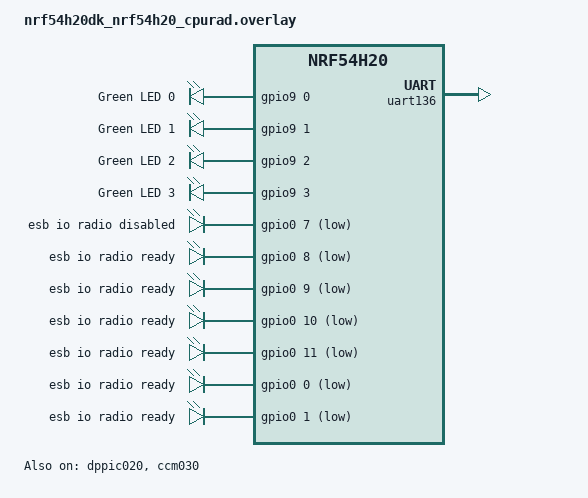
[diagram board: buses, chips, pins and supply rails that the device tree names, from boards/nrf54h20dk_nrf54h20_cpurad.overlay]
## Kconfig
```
#
# Copyright (c) 2020 Nordic Semiconductor
#
# SPDX-License-Identifier: LicenseRef-Nordic-5-Clause
#

source "Kconfig.zephyr"

menu "Enhanced ShockBurst: Receiver"

config ESB_PRX_APP_LOG_LEVEL
	int "Log level for the ESB PRX sample"
	default 4

config ESB_PRX_TX_LENGTH
	int "ACK payload length"
	range 0 ESB_MAX_PAYLOAD_LENGTH
	default 0

config APP_DATA_LENGTH
	int "Exact payload length"
	range 1 ESB_MAX_PAYLOAD_LENGTH
	default 4

endmenu
```

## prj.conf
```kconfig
#
# Copyright (c) 2019 Nordic Semiconductor ASA
#
# SPDX-License-Identifier: LicenseRef-Nordic-5-Clause
#
CONFIG_NCS_SAMPLES_DEFAULTS=y
CONFIG_ESB=y
CONFIG_DK_LIBRARY=y
CONFIG_CLOCK_CONTROL=y

CONFIG_ESB_FAST_SWITCHING=y
CONFIG_ESB_FAST_CHANNEL_SWITCHING=y
CONFIG_ESB_PRX_TX_LENGTH=15

# Security
CONFIG_NRF_SECURITY=y
CONFIG_MBEDTLS_PSA_CRYPTO_C=y

CONFIG_MBEDTLS_ENABLE_HEAP=y
CONFIG_MBEDTLS_HEAP_SIZE=8192
CONFIG_MAIN_STACK_SIZE=4096

# CONFIG_CLOAK=y
CONFIG_JETSTREAM=y
CONFIG_RESET_ON_FATAL_ERROR=n
CONFIG_DEBUG_OPTIMIZATIONS=y
CONFIG_SPIN_VALIDATE=n
# CPU usage
# CONFIG_LOG_BACKEND_UART=y
# #CONFIG_LOG_BACKEND_RTT=y
# CONFIG_THREAD_ANALYZER=y
# #CONFIG_THREAD_ANALYZER_USE_PRINTK=y
# CONFIG_THREAD_ANALYZER_AUTO=y
# CONFIG_THREAD_ANALYZER_AUTO_INTERVAL=5
# CONFIG_THREAD_NAME=y
# #CONFIG_LOG_BUFFER_SIZE=12048
# CONFIG_SPEED_OPTIMIZATIONS=y
```

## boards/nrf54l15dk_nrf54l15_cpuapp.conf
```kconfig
# CONFIG_SOC_NRF_FORCE_CONSTLAT=y。
CONFIG_NRFX_DPPI10=y
```

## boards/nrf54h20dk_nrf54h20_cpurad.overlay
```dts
/*
 * Copyright (c) 2024 Nordic Semiconductor ASA
 *
 * SPDX-License-Identifier: LicenseRef-Nordic-5-Clause
 */

 / {
	leds {
		compatible = "gpio-leds";

		led0: led_0 {
			gpios = < &gpio9 0 GPIO_ACTIVE_HIGH >;
			label = "Green LED 0";
		};

		led1: led_1 {
			gpios = < &gpio9 1 GPIO_ACTIVE_HIGH >;
			label = "Green LED 1";
		};

		led2: led_2 {
			gpios = < &gpio9 2 GPIO_ACTIVE_HIGH >;
			label = "Green LED 2";
		};

		led3: led_3 {
			gpios = < &gpio9 3 GPIO_ACTIVE_HIGH >;
			label = "Green LED 3";
		};
	};

	aliases {
		led0 = &led0;
		led1 = &led1;
		led2 = &led2;
		led3 = &led3;
	};

	chosen {
		zephyr,console = &uart136;
	};

	jetstr_gpio {
		compatible = "gpio-leds";
		jet_dbg_sig_poll_exp: jet_dbg_sig_poll_exp {
			gpios = <&gpio0 7 GPIO_ACTIVE_LOW>;
			label = "esb io radio disabled";
		};
		jet_dbg_sig_send_pkt: jet_dbg_sig_send_pkt {
			gpios = <&gpio0 8 GPIO_ACTIVE_LOW>;
			label = "esb io radio ready";
		};
		jet_dbg_sig_tx_success: jet_dbg_sig_tx_success {
			gpios = <&gpio0 9 GPIO_ACTIVE_LOW>;
			label = "esb io radio ready";
		};
		jet_dbg_sig_retx: jet_dbg_sig_retx {
			gpios = <&gpio0 10 GPIO_ACTIVE_LOW>;
			label = "esb io radio ready";
		};
		jet_dbg_sig_tx_fail: jet_dbg_sig_tx_fail {
			gpios = <&gpio0 11 GPIO_ACTIVE_LOW>;
			label = "esb io radio ready";
		};
		jet_dbg_sig_rf_recv: jet_dbg_sig_rf_recv {
			gpios = <&gpio0 0 GPIO_ACTIVE_LOW>;
			label = "esb io radio ready";
		};
		jet_dbg_sig_tim_irq: jet_dbg_sig_tim_irq {
			gpios = <&gpio0 1 GPIO_ACTIVE_LOW>;
			label = "esb io radio ready";
		};

	};

};

&gpio9 {
	status = "okay";
};

&gpio0 {
	status = "okay";
};

&gpiote130 {
	owned-channels = <0 1 2 3 4 5 6 7>;
	status = "okay";
};

&uart136 {
	status = "okay";
	memory-regions = <&cpurad_dma_region>;
};

&uart135 {
	status = "disabled";
};

&dppic020 {
	status = "okay";
	source-channels = < 0 1 2 3 4 5 >;
	sink-channels = < 6 7 8 9 10 11 >;
};

&ccm030 {
	status = "okay";
};
```

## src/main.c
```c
/*
 * Copyright (c) 2018 Nordic Semiconductor ASA
 *
 * SPDX-License-Identifier: LicenseRef-Nordic-5-Clause
 */
#include <zephyr/device.h>
#include <zephyr/devicetree.h>
#include <zephyr/drivers/clock_control.h>
#include <zephyr/drivers/clock_control/nrf_clock_control.h>
#if defined(NRF54L15_XXAA)
#include <hal/nrf_clock.h>
#endif /* defined(NRF54L15_XXAA) */

#include <zephyr/drivers/timer/nrf_grtc_timer.h>
#include <zephyr/drivers/gpio.h>
#include <zephyr/irq.h>
#include <zephyr/logging/log.h>
#include <nrf.h>
#include <esb.h>
#include <zephyr/kernel.h>
#include <zephyr/types.h>
#include <zephyr/sys/byteorder.h>
#include <dk_buttons_and_leds.h>
#if defined(CONFIG_CLOCK_CONTROL_NRF2)
#include <hal/nrf_lrcconf.h>
#endif
#if defined(CONFIG_CLOAK)
#include <cloak.h>
#endif
#include <jetstr.h>

LOG_MODULE_REGISTER(esb_prx, CONFIG_ESB_PRX_APP_LOG_LEVEL);

/* Print cycle time, in microseconds */
#define PRINT_CYCLE     1000000

struct main_msg {
	uint32_t type;
	uint32_t cnt;
	uint32_t cnt_err;
};

#define MAIN_MSG_RX     0
#define MAIN_MSG_TX     1
#define MAIN_MSG_TIMER  2

struct print_msg {
	uint32_t rx_cnt;
	uint32_t tx_cnt;
	uint32_t rx_error_cnt;
};

static struct esb_payload rx_payload;
static struct esb_payload tx_payload = ESB_CREATE_PAYLOAD(0,
	0x10, 0x11, 0x12, 0x13, 0x14, 0x15, 0x16, 0x17);
static struct esb_payload tx_payload1 = ESB_CREATE_PAYLOAD(0, 0x1, 0x2);

static uint8_t nonce[13] = {0};
uint8_t data[CONFIG_APP_DATA_LENGTH];
static uint8_t s_channel_tab[] = JETSTR_CHANNEL_TAB;

#if CONFIG_ESB_PRX_TX_LENGTH > 0

static void fill_tx_payload_data(struct esb_payload *payload)
{
	static uint8_t tx_data_next;
	uint8_t i;

	for (i = 0; i < CONFIG_ESB_PRX_TX_LENGTH; i++) {
		payload->data[i] = tx_data_next + i;
	}

	tx_data_next += CONFIG_ESB_PRX_TX_LENGTH;
}

static void fill_tx_fifo(void)
{
	int err;

	while (1) {

		err = esb_write_payload(&tx_payload);
		if (err) {
			break;
		}
	}
}
#endif

K_MSGQ_DEFINE(main_msgq,
	      sizeof(struct main_msg),
	      24,
	      sizeof(uint32_t));

K_MSGQ_DEFINE(print_msgq,
	      sizeof(struct print_msg),
	      1,
	      sizeof(uint32_t));

static struct k_thread print_thread;

static K_THREAD_STACK_DEFINE(print_stack, 512);

static int32_t timer_chan;
static uint64_t timer_tick;

static int timer_target_set(void);
static bool hop = false;
static void leds_update(uint8_t value)
{
	uint32_t leds_mask =
		(!(value % 8 > 0 && value % 8 <= 4) ? DK_LED1_MSK : 0) |
		(!(value % 8 > 1 && value % 8 <= 5) ? DK_LED2_MSK : 0) |
		(!(value % 8 > 2 && value % 8 <= 6) ? DK_LED3_MSK : 0) |
		(!(value % 8 > 3) ? DK_LED4_MSK : 0);

	dk_set_leds(leds_mask);
}

void event_handler(void *p_event_data, uint16_t event_size)
{
	struct main_msg msg;
	int err;
	jetstr_evt_t *evt;

	// ASSERT(event_size == sizeof(jetstr_evt_t));
	evt = (jetstr_evt_t *)p_event_data;

	switch (evt->type) {
	case jetstr_evt_none:

		break;

	case jetstr_evt_tx_failed:
		break;
	case jetstr_evt_tx_success:

		msg.type = MAIN_MSG_TX;
		msg.cnt = 1;
		err = k_msgq_put(&main_msgq, &msg, K_NO_WAIT);
		if (err) {
			LOG_ERR("Cannot put TX count to message queue");
		}

		break;

	case jetstr_evt_rx_received:
		msg.type = MAIN_MSG_RX;
		msg.cnt = 0;
		if (evt->rcv_length > 0) {
			msg.cnt++;
		}

		memcpy(rx_payload.data, evt->rcv_data, evt->rcv_length);
		rx_payload.length = evt->rcv_length;
		err = k_msgq_put(&main_msgq, &msg, K_NO_WAIT);
		if (err) {
			LOG_ERR("Cannot put RX count to message queue");
		}

		// esb_write_payload(&tx_payload1);

		break;
	}
}

#if defined(CONFIG_CLOCK_CONTROL_NRF)
int clocks_start(void)
{
	int err;
	int res;
	struct onoff_manager *clk_mgr;
	struct onoff_client clk_cli;

	clk_mgr = z_nrf_clock_control_get_onoff(CLOCK_CONTROL_NRF_SUBSYS_HF);
	if (!clk_mgr) {
		LOG_ERR("Unable to get the Clock manager");
		return -ENXIO;
	}

	sys_notify_init_spinwait(&clk_cli.notify);

	err = onoff_request(clk_mgr, &clk_cli);
	if (err < 0) {
		LOG_ERR("Clock request failed: %d", err);
		return err;
	}

	do {
		err = sys_notify_fetch_result(&clk_cli.notify, &res);
		if (!err && res) {
			LOG_ERR("Clock could not be started: %d", res);
			return res;
		}
	} while (err);

#if defined(NRF54L15_XXAA)
	/* MLTPAN-20 */
	nrf_clock_task_trigger(NRF_CLOCK, NRF_CLOCK_TASK_PLLSTART);
#endif /* defined(NRF54L15_XXAA) */

	LOG_DBG("HF clock started");
	return 0;
}

#elif defined(CONFIG_CLOCK_CONTROL_NRF2)

int clocks_start(void)
{
	int err;
	int res;
	const struct device *radio_clk_dev =
		DEVICE_DT_GET_OR_NULL(DT_CLOCKS_CTLR(DT_NODELABEL(radio)));
	struct onoff_client radio_cli;

	/** Keep radio domain powered all the time to reduce latency. */
	nrf_lrcconf_poweron_force_set(NRF_LRCCONF010, NRF_LRCCONF_POWER_DOMAIN_1, true);

	sys_notify_init_spinwait(&radio_cli.notify);

	err = nrf_clock_control_request(radio_clk_dev, NULL, &radio_cli);

	do {
		err = sys_notify_fetch_result(&radio_cli.notify, &res);
		if (!err && res) {
			LOG_ERR("Clock could not be started: %d", res);
			return res;
		}
	} while (err == -EAGAIN);

	nrf_lrcconf_clock_always_run_force_set(NRF_LRCCONF000, 0, true);
	nrf_lrcconf_task_trigger(NRF_LRCCONF000, NRF_LRCCONF_TASK_CLKSTART_0);

	LOG_DBG("HF clock started");
	return 0;
}

#else
BUILD_ASSERT(false, "No Clock Control driver");
#endif /* defined(CONFIG_CLOCK_CONTROL_NRF2) */

int esb_initialize(void)
{
	int err;
	/* These are arbitrary default addresses. In end user products
	 * different addresses should be used for each set of devices.
	 */
	jetstr_cfg_t jetstr_config;
	jetstr_cfg_params_t jetstr_cfg_params;
	struct esb_config config = ESB_DEFAULT_CONFIG;

	jetstr_cfg_params.jetstr_channel_tab = s_channel_tab;
	jetstr_cfg_params.jetstr_channel_tab_size = JETSTR_CHANNEL_TAB_SIZE;
	jetstr_cfg_params.jetstr_rx_period = JETSTR_RX_PERIOD;
	jetstr_cfg_params.jetstr_rx_delay = JETSTR_RX_DELAY;
	jetstr_cfg_params.jetstr_retran_cnt_in_sync = JETSTR_RETRAN_CNT_IN_SYNC;
	jetstr_cfg_params.jetstr_retran_cnt_out_of_sync = JETSTR_RETRAN_CNT_OUT_OF_SYNC;
	jetstr_cfg_params.jetsr_rx_retran = JETSTR_RX_RETRAN;
	jetstr_cfg_params.jetstr_retran_cnt_chan_sw = JETSTR_RETRAN_CNT_CHAN_SW;

	jetstr_config.event_callback = event_handler;
	jetstr_config.config = config;
	jetstr_config.config.protocol = ESB_PROTOCOL_ESB_DPL;
	jetstr_config.config.bitrate = ESB_BITRATE_4MBPS;
	jetstr_config.config.mode = ESB_MODE_PRX;
	jetstr_config.config.crc = ESB_CRC_16BIT;
	jetstr_config.config.tx_output_power = 8;

	jetstr_config.config.selective_auto_ack = true;
	if (IS_ENABLED(CONFIG_ESB_FAST_SWITCHING)) {
		jetstr_config.config.use_fast_ramp_up = true;
	}

	jetstr_init(&jetstr_config.config, &jetstr_cfg_params);

	return 0;
}

static void timer_compare_handler(int32_t chan_id,
				  uint64_t expire_time,
				  void *user_data)
{
	timer_target_set();

	struct main_msg msg;
	int err;

	msg.type = MAIN_MSG_TIMER;
	err = k_msgq_put(&main_msgq, &msg, K_NO_WAIT);
	if (err) {
		LOG_ERR("Cannot put TIMER count to message queue");
	}
}

static int timer_target_set(void)
{
	int err;

	timer_tick += PRINT_CYCLE; // TODO: convert microseconds to timer tick

	err = z_nrf_grtc_timer_set(timer_chan,
				   timer_tick,
				   timer_compare_handler,
				   NULL);

	return err;
}

static void print_main(void *p1, void *p2, void *p3)
{
	struct print_msg msg;

	/* Process message queue */
	while (!k_msgq_get(&print_msgq, &msg, K_FOREVER)) {
		LOG_INF("Received %u packets. Sent %u packets. %u data error.",
			msg.rx_cnt, msg.tx_cnt, msg.rx_error_cnt);
	}
}

int main(void)
{
	int err;

	LOG_INF("Enhanced ShockBurst prx sample");

	err = clocks_start();
	if (err) {
		return 0;
	}

	err = dk_leds_init();
	if (err) {
		LOG_ERR("LEDs initialization failed, err %d", err);
		return 0;
	}

	err = esb_initialize();
	if (err) {
		LOG_ERR("ESB initialization failed, err %d", err);
		return 0;
	}

#if defined(CONFIG_CLOAK)
	cloak_init();
	cloak_set_pairing_key(CLOAK_DEFAULT_PAIR_KEY);
	cloak_import_ccm_sk(CLOAK_DEFAULT_AES_KEY);
#endif

	k_thread_create(&print_thread,
			print_stack,
			K_THREAD_STACK_SIZEOF(print_stack),
			print_main,
			NULL,
			NULL,
			NULL,
			K_LOWEST_APPLICATION_THREAD_PRIO,
			0,
			K_NO_WAIT);

	timer_chan = z_nrf_grtc_timer_chan_alloc();
	if (timer_chan < 0) {
		LOG_ERR("Cannot get a timer channel");
		return 0;
	}

	LOG_INF("Initialization complete");

	err = esb_write_payload(&tx_payload);
	if (err) {
		LOG_ERR("Write payload, err %d", err);
		return 0;
	}

	LOG_INF("Setting up for packet receiption");

	timer_tick = z_nrf_grtc_timer_read();
	timer_target_set();

	jetstr_rx_start(JETSTR_RX_PERIOD);
	if (err) {
		LOG_ERR("RX setup failed, err %d", err);
		return 0;
	}

	uint32_t rx_done_cnt = 0;
	uint32_t tx_done_cnt = 0;
	uint32_t rx_error_cnt = 0;
	struct main_msg msg;
	struct print_msg prt_msg;

#if defined(CONFIG_CLOAK)
	uint8_t opc = CLOAK_OPC_CCM_DATA_P;
	uint8_t temp[CLOAK_DATA_MAX_SIZE];
	size_t olen;
#endif
	while (!k_msgq_get(&main_msgq, &msg, K_FOREVER)) {
		switch(msg.type) {
		case MAIN_MSG_RX:
			rx_done_cnt += msg.cnt;
#if defined(CONFIG_CLOAK)
			memcpy(nonce, &rx_payload.data[CONFIG_APP_DATA_LENGTH + 4], 6);
			err = cloak_ccm_decrypt_data(PSA_KEY_ID_NULL,
				nonce,
				&opc, sizeof(opc),
				rx_payload.data, CONFIG_APP_DATA_LENGTH + 4,
				temp, sizeof(temp),
				&olen);
			if(err) {
				rx_error_cnt++;
			}
#endif
			break;
		case MAIN_MSG_TX:
			tx_done_cnt += msg.cnt;
#if CONFIG_ESB_PRX_TX_LENGTH > 0
			// fill_tx_fifo();
#endif
			break;
		case MAIN_MSG_TIMER:
			prt_msg.rx_cnt = rx_done_cnt;
			rx_done_cnt = 0;
			prt_msg.tx_cnt = tx_done_cnt;
			tx_done_cnt = 0;
			prt_msg.rx_error_cnt = rx_error_cnt;
			rx_error_cnt = 0;
			err = k_msgq_put(&print_msgq, &prt_msg, K_NO_WAIT);
			if (err) {
				LOG_ERR("Cannot put PRX statistics to message queue");
			}
			break;
		default:
			break;
		}
	}

	LOG_WRN("main loop exited");

	/* return to idle thread */
	return 0;
}
```
